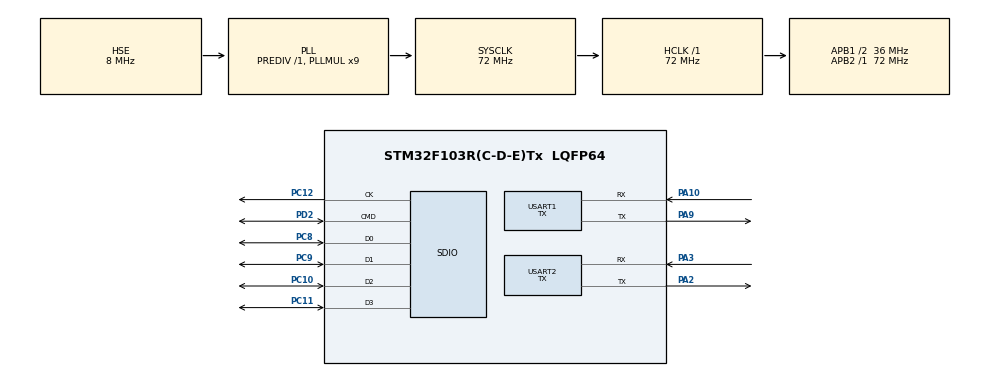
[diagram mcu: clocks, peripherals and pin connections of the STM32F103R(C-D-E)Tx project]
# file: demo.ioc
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Mcu.Family=STM32F1
Mcu.Name=STM32F103R(C-D-E)Tx
Mcu.Package=LQFP64
NVIC.PriorityGroup=NVIC_PRIORITYGROUP_4
PA10.Mode=Asynchronous
PA10.Signal=USART1_RX
PA13.Mode=Serial_Wire
PA13.Signal=SYS_JTMS-SWDIO
PA14.Mode=Serial_Wire
PA14.Signal=SYS_JTCK-SWCLK
PA2.Mode=Asynchronous
PA2.Signal=USART2_TX
PA3.Mode=Asynchronous
PA3.Signal=USART2_RX
PA9.Mode=Asynchronous
PA9.Signal=USART1_TX
PC10.Mode=SD_4_bits_Wide_bus
PC10.Signal=SDIO_D2
PC11.Mode=SD_4_bits_Wide_bus
PC11.Signal=SDIO_D3
PC12.Mode=SD_4_bits_Wide_bus
PC12.Signal=SDIO_CK
PC8.Mode=SD_4_bits_Wide_bus
PC8.Signal=SDIO_D0
PC9.Mode=SD_4_bits_Wide_bus
PC9.Signal=SDIO_D1
PD0-OSC_IN.Mode=HSE-External-Oscillator
PD0-OSC_IN.Signal=RCC_OSC_IN
PD1-OSC_OUT.Mode=HSE-External-Oscillator
PD1-OSC_OUT.Signal=RCC_OSC_OUT
PD2.Mode=SD_4_bits_Wide_bus
PD2.Signal=SDIO_CMD
ProjectManager.HeapSize=0x200
ProjectManager.StackSize=0x400
ProjectManager.TargetToolchain=MDK-ARM V5
RCC.AHBFreq_Value=72000000
RCC.APB1CLKDivider=RCC_HCLK_DIV2
RCC.APB1Freq_Value=36000000
RCC.APB1TimFreq_Value=72000000
RCC.APB2Freq_Value=72000000
RCC.APB2TimFreq_Value=72000000
RCC.HCLKFreq_Value=72000000
RCC.PLLMUL=RCC_PLL_MUL9
RCC.PLLSourceVirtual=RCC_PLLSOURCE_HSE
RCC.SYSCLKFreq_VALUE=72000000
RCC.SYSCLKSource=RCC_SYSCLKSOURCE_PLLCLK
RCC.USBFreq_Value=72000000
SDIO.ClockBypass=SDIO_CLOCK_BYPASS_DISABLE
SDIO.ClockDiv=36
USART1.Mode=MODE_TX
USART1.VirtualMode=VM_ASYNC
USART2.Mode=MODE_TX
USART2.VirtualMode=VM_ASYNC
VP_FATFS_VS_SDIO.Mode=SDIO
board=custom

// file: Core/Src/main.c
/* USER CODE BEGIN Header */
/**
 ******************************************************************************
 * @file           : main.c
 * @brief          : Main program body
 ******************************************************************************
 * @attention
 *
 * <h2><center>&copy; Copyright (c) 2022 STMicroelectronics.
 * All rights reserved.</center></h2>
 *
 * This software component is licensed by ST under BSD 3-Clause license,
 * the "License"; You may not use this file except in compliance with the
 * License. You may obtain a copy of the License at:
 *                        opensource.org/licenses/BSD-3-Clause
 *
 ******************************************************************************
 */
/* USER CODE END Header */
#include "main.h"
#include "fatfs.h"
#include "gpio.h"
#include "sdio.h"
#include "usart.h"

/* USER CODE BEGIN PD */

FATFS    fs;
FATFS*   pfs;
FIL      fil;
FRESULT  fres;
DWORD    fre_clust;
uint32_t totalSpace, freeSpace;
char     buffer[100];

/* USER CODE END PD */

void SystemClock_Config(void);

/* USER CODE BEGIN 0 */

void SD_Error_Handler(char* file, int line) {
    printf("%s:%d\r\n", file, line);
    while (1) {}
}

FRESULT scan_files(char* path /* Start node to be scanned */) {
    FRESULT        res;
    DIR            dir;
    UINT           i;
    static FILINFO fno;

    res = f_opendir(&dir, path); /* Open the directory */
    if (res == FR_OK) {
        for (;;) {
            res = f_readdir(&dir, &fno);                  /* Read a directory item */
            if (res != FR_OK || fno.fname[0] == 0) break; /* Break on error or end of dir */
            if (fno.fattrib & AM_DIR) {                   /* It is a directory */
                i = strlen(path);
                sprintf(&path[i], "/%s", fno.fname);
                res = scan_files(path); /* Enter the directory */
                if (res != FR_OK) break;
                path[i] = 0;
            } else { /* It is a file. */
                printf("%s/%s %llu\r\n", path, fno.fname, fno.fsize);
            }
        }
        f_closedir(&dir);
    }
    return res;
}

/* USER CODE END 0 */

int main(void) {

    /* MCU Configuration--------------------------------------------------------*/

    /* Reset of all peripherals, Initializes the Flash interface and the Systick. */
    HAL_Init();

    /* Configure the system clock */
    SystemClock_Config();

    /* Initialize all configured peripherals */
    MX_GPIO_Init();
    MX_USART1_UART_Init();
    MX_USART2_UART_Init();
    MX_SDIO_SD_Init();
    MX_FATFS_Init();
    /* USER CODE BEGIN 2 */
    if (f_mount(&fs, "", 0) != FR_OK)
        SD_Error_Handler(__FILE__, __LINE__);

    /* Check freeSpace space */
    if (f_getfree("", &fre_clust, &pfs) != FR_OK)
        SD_Error_Handler(__FILE__, __LINE__);

    totalSpace = (uint32_t)((pfs->n_fatent - 2) * pfs->csize * 0.5);
    freeSpace  = (uint32_t)(fre_clust * pfs->csize * 0.5);

    printf("free space: %.2f MB\r\n", freeSpace / 1024.f);
    printf("total space: %.2f MB\r\n", totalSpace / 1024.f);

    /* free space is less than 1kb */
    if (freeSpace < 1)
        SD_Error_Handler(__FILE__, __LINE__);

    /* Open file to write */

//    if (f_open(&fil, "first.txt", FA_OPEN_ALWAYS | FA_READ | FA_WRITE) != FR_OK)
//        SD_Error_Handler(__FILE__, __LINE__);

    /* Writing text */
    f_puts("STM32 SD Card I/O Example via SDIO\n", &fil);
    f_puts("Save OK!!!", &fil);

    /* Close file */
    if (f_close(&fil) != FR_OK)
        SD_Error_Handler(__FILE__, __LINE__);

    /* Open file to read */
    if (f_open(&fil, "first.txt", FA_READ) != FR_OK)
        SD_Error_Handler(__FILE__, __LINE__);

    while (f_gets(buffer, sizeof(buffer), &fil)) {
        /* SWV output */
        printf("%s", buffer);
        fflush(stdout);
    }

    /* Close file */
    if (f_close(&fil) != FR_OK)
        SD_Error_Handler(__FILE__, __LINE__);

    /* scan file in dir*/
    printf("\r\n[scan]:\r\n");
    scan_files("dir");

    /* Unmount SDCARD */
    if (f_mount(NULL, "", 1) != FR_OK)
        SD_Error_Handler(__FILE__, __LINE__);

    /* USER CODE END 2 */

    /* Infinite loop */
    while (1) {

    }
}

void SystemClock_Config(void) {
    RCC_OscInitTypeDef RCC_OscInitStruct = {0};
    RCC_ClkInitTypeDef RCC_ClkInitStruct = {0};

    /** Initializes the RCC Oscillators according to the specified parameters
     * in the RCC_OscInitTypeDef structure.
     */
    RCC_OscInitStruct.OscillatorType = RCC_OSCILLATORTYPE_HSE;
    RCC_OscInitStruct.HSEState       = RCC_HSE_ON;
    RCC_OscInitStruct.HSEPredivValue = RCC_HSE_PREDIV_DIV1;
    RCC_OscInitStruct.HSIState       = RCC_HSI_ON;
    RCC_OscInitStruct.PLL.PLLState   = RCC_PLL_ON;
    RCC_OscInitStruct.PLL.PLLSource  = RCC_PLLSOURCE_HSE;
    RCC_OscInitStruct.PLL.PLLMUL     = RCC_PLL_MUL9;
    if (HAL_RCC_OscConfig(&RCC_OscInitStruct) != HAL_OK) {
        Error_Handler();
    }
    /** Initializes the CPU, AHB and APB buses clocks
     */
    RCC_ClkInitStruct.ClockType      = RCC_CLOCKTYPE_HCLK | RCC_CLOCKTYPE_SYSCLK | RCC_CLOCKTYPE_PCLK1 | RCC_CLOCKTYPE_PCLK2;
    RCC_ClkInitStruct.SYSCLKSource   = RCC_SYSCLKSOURCE_PLLCLK;
    RCC_ClkInitStruct.AHBCLKDivider  = RCC_SYSCLK_DIV1;
    RCC_ClkInitStruct.APB1CLKDivider = RCC_HCLK_DIV2;
    RCC_ClkInitStruct.APB2CLKDivider = RCC_HCLK_DIV1;

    if (HAL_RCC_ClockConfig(&RCC_ClkInitStruct, FLASH_LATENCY_2) != HAL_OK) {
        Error_Handler();
    }
}

void Error_Handler(void) {
}

/************************ (C) COPYRIGHT STMicroelectronics *****END OF FILE****/
